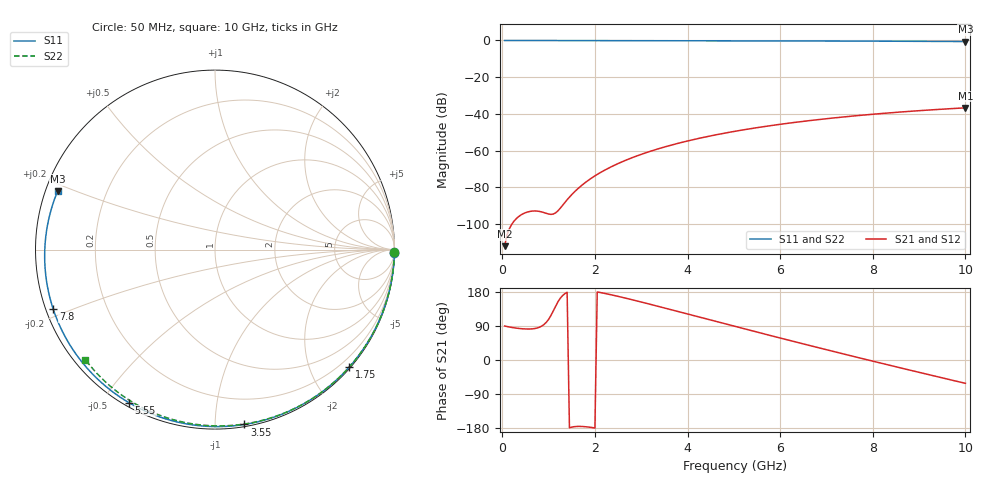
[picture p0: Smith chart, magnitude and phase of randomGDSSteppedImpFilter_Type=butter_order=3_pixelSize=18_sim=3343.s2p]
! freq	dB(S11)	phase(S11)	dB(S12)	phase(S12)
!  dB(S21)	phase(S21)	dB(S22)	phase(S22)
!S-par simulation data
#  GHz  S  DB  R 50
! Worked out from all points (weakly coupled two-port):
!   200 points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, 50 MHz to 10 GHz, reference 50 ohm
!   highest |S21| = -36.71 dB at 10 GHz (marker M1); lowest = -112.0 dB at 50 MHz (marker M2)
!   lowest |S11| = -0.6 dB at 10 GHz (marker M3), VSWR 29.93, Z = 1.72 + j8.98 ohm
!   |S11| at or under -10 dB: nowhere
!   |S22| runs from -0.5 to 0.0 dB; largest |S21 - S12| = 0
!   S11 on the Smith chart (normalised r, x): 50 MHz: 0, -94; 1.75 GHz: 0.02, -2.65; 3.55 GHz: 0.01, -1.18; 5.55 GHz: 0.01, -0.58; 7.8 GHz: 0.02, -0.18; 10 GHz: 0.03, +0.18
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0.05  -0.00 -1.2  -112.05 89.7  -112.05 89.7  -0.00 -0.8
0.4  -0.01 -9.6  -95.09 82.8  -95.09 82.8  -0.01 -6.4
0.8  -0.02 -19.1  -93.11 86.4  -93.11 86.4  -0.02 -12.9
1.2  -0.04 -28.6  -92.83 153.2  -92.83 153.2  -0.02 -19.2
1.65  -0.05 -39.0  -80.31 -175.2  -80.31 -175.2  -0.03 -26.3
1.75  -0.05 -41.3  -78.21 -175.6  -78.21 -175.6  -0.04 -27.9
2.05  -0.06 -48.1  -72.98 179.5  -72.98 179.5  -0.04 -32.6
2.25  -0.07 -52.6  -70.12 174.8  -70.12 174.8  -0.05 -35.6
2.45  -0.07 -57.0  -67.63 169.4  -67.63 169.4  -0.05 -38.7
2.9  -0.09 -66.8  -62.94 156.1  -62.94 156.1  -0.06 -45.6
3.4  -0.10 -77.3  -58.78 140.5  -58.78 140.5  -0.07 -53.0
3.55  -0.11 -80.5  -57.69 135.8  -57.69 135.8  -0.07 -55.2
4.3  -0.13 -95.6  -53.03 111.8  -53.03 111.8  -0.09 -66.1
5.05  -0.16 -110.0  -49.36 87.9  -49.36 87.9  -0.12 -76.6
5.55  -0.19 -119.4  -47.30 72.1  -47.30 72.1  -0.14 -83.5
6.15  -0.23 -130.3  -45.17 53.3  -45.17 53.3  -0.16 -91.5
6.7  -0.26 -140.2  -43.46 36.3  -43.46 36.3  -0.19 -98.7
7.25  -0.30 -150.0  -41.96 19.5  -41.96 19.5  -0.22 -105.8
7.8  -0.35 -159.8  -40.63 2.9  -40.63 2.9  -0.26 -112.7
8.35  -0.40 -169.6  -39.46 -13.5  -39.46 -13.5  -0.31 -119.5
9.2  -0.49 174.8  -37.91 -38.4  -37.91 -38.4  -0.39 -129.9
10  -0.58 159.6  -36.71 -61.6  -36.71 -61.6  -0.47 -139.7
